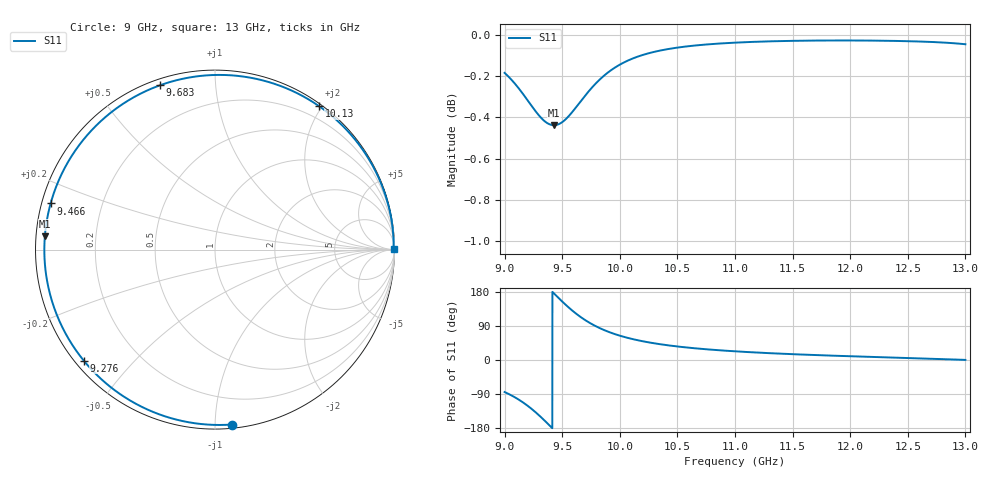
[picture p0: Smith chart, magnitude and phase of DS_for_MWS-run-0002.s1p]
! TOUCHSTONE file generated by CST DESIGN STUDIO
! Date and time: Tue Feb  4 13:17:35 2025
! Project name: C:\Work\MatlabApps\UnitCellOptimizationMatlab\CST\unitcell.cst
! Tree item: Tasks\Sweep1\SPara1\S-Parameters
! Header version: 2024
! Port assignment regex: !\s*Touchstone port\s*([0-9]+)\s*=\s*(CST MWS port|CST DES external port|CST DES block port)\s*(.+)\s* \(\"(.*)\"\)(\s*mode\s*([0-9]+))?.*
! Touchstone port assignment:
! Touchstone port 1 = CST DES external port 1 ("")
# GHz S MA R 50
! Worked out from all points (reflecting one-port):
!   4001 points, 9 GHz to 13 GHz, reference 50 ohm
!   lowest |S11| = -0.4 dB at 9.429 GHz (marker M1), VSWR 39.66, Z = 1.26 + j1.97 ohm
!   phase of S11 starts at -84 deg and turns -275 deg over the sweep
!   S11 on the Smith chart (normalised r, x): 9 GHz: 0.02, -1.10; 9.276 GHz: 0.02, -0.37; 9.466 GHz: 0.03, +0.14; 9.683 GHz: 0.03, +0.72; 10.13 GHz: 0.03, +1.96; 13 GHz: open
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9  0.9791 -84.5
9.083  0.9737 -97.4
9.152  0.9682 -110.4
9.215  0.9628 -124.3
9.276  0.9577 -139.8
9.319  0.9546 -151.7
9.357  0.9525 -162.8
9.393  0.9512 -173.6
9.429  0.9508 175.5
9.466  0.9513 164.3
9.5  0.9524 154.3
9.546  0.955 141.3
9.591  0.9581 129.5
9.636  0.9617 118.7
9.683  0.9654 108.6
9.754  0.9708 95.3
9.838  0.9762 82.4
9.916  0.9802 72.7
10  0.9836 64.2
10.129  0.9874 53.9
10.296  0.9906 44.2
10.5  0.993 35.7
10.723  0.9946 29.0
11  0.9958 22.9
11.5  0.9968 15.4
12  0.997 9.9
12.5  0.9966 5.3
13  0.9949 0.2
